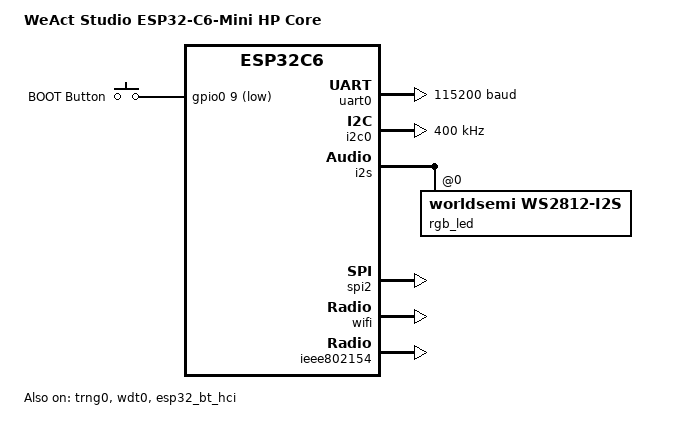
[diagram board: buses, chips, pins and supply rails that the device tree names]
/*
 * Copyright (c) 2025 Siratul Islam
 *
 * SPDX-License-Identifier: Apache-2.0
 */

/dts-v1/;

#include <espressif/esp32c6/esp32c6_wroom_n4.dtsi>
#include "weact_esp32c6_mini_hpcore-pinctrl.dtsi"
#include <zephyr/dt-bindings/input/input-event-codes.h>
#include <zephyr/dt-bindings/led/led.h>
#include <espressif/partitions_0x0_default.dtsi>

/ {
	model = "WeAct Studio ESP32-C6-Mini HP Core";
	compatible = "weact,esp32c6-mini";

	chosen {
		zephyr,sram = &sramhp;
		zephyr,console = &uart0;
		zephyr,shell-uart = &uart0;
		zephyr,flash = &flash0;
		zephyr,code-partition = &slot0_partition;
		zephyr,ieee802154 = &ieee802154;
	};

	aliases {
		watchdog0 = &wdt0;
		i2c-0 = &i2c0;
		sw0 = &button0;
		rgb0 = &rgb_led;
	};

	buttons {
		compatible = "gpio-keys";

		button0: button_0 {
			gpios = <&gpio0 9 (GPIO_PULL_UP | GPIO_ACTIVE_LOW)>;
			label = "BOOT Button";
			zephyr,code = <INPUT_KEY_0>;
		};
	};
};

&uart0 {
	status = "okay";
	current-speed = <115200>;
	pinctrl-0 = <&uart0_default>;
	pinctrl-names = "default";
};

&trng0 {
	status = "okay";
};

&i2c0 {
	status = "okay";
	clock-frequency = <I2C_BITRATE_FAST>;
	pinctrl-0 = <&i2c0_default>;
	pinctrl-names = "default";
};

&i2s {
	pinctrl-0 = <&i2s_default>;
	pinctrl-names = "default";
	status = "okay";

	dmas = <&dma 3>;
	dma-names = "tx";

	rgb_led: ws2812@0 {
		compatible = "worldsemi,ws2812-i2s";

		reg = <0>;
		chain-length = <1>;
		color-mapping = <LED_COLOR_ID_GREEN
				 LED_COLOR_ID_RED
				 LED_COLOR_ID_BLUE>;
		reset-delay = <500>;
	};
};

&spi2 {
	#address-cells = <1>;
	#size-cells = <0>;
	status = "okay";
	pinctrl-0 = <&spim2_default>;
	pinctrl-names = "default";
};

&gpio0 {
	status = "okay";
};

&wdt0 {
	status = "okay";
};

&wifi {
	status = "okay";
};

&ieee802154 {
	status = "okay";
};

&esp32_bt_hci {
	status = "okay";
};

&dma {
	status = "okay";
};
